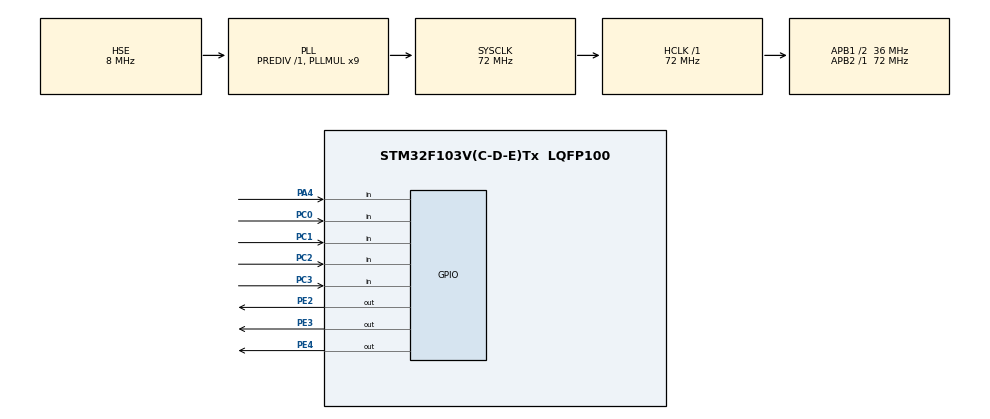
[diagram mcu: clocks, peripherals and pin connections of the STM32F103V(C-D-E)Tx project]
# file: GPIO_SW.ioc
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Mcu.Family=STM32F1
Mcu.Name=STM32F103V(C-D-E)Tx
Mcu.Package=LQFP100
NVIC.PriorityGroup=NVIC_PRIORITYGROUP_4
OSC_IN.Mode=HSE-External-Oscillator
OSC_IN.Signal=RCC_OSC_IN
OSC_OUT.Mode=HSE-External-Oscillator
OSC_OUT.Signal=RCC_OSC_OUT
PA4.GPIO_PuPd=GPIO_PULLUP
PA4.Signal=GPIO_Input
PC0.GPIO_PuPd=GPIO_PULLUP
PC0.Signal=GPIO_Input
PC1.GPIO_PuPd=GPIO_PULLUP
PC1.Signal=GPIO_Input
PC2.GPIO_PuPd=GPIO_PULLUP
PC2.Signal=GPIO_Input
PC3.GPIO_PuPd=GPIO_PULLUP
PC3.Signal=GPIO_Input
PE2.GPIO_PuPd=GPIO_PULLUP
PE2.Signal=GPIO_Output
PE3.GPIO_PuPd=GPIO_PULLUP
PE3.Signal=GPIO_Output
PE4.GPIO_PuPd=GPIO_PULLUP
PE4.Signal=GPIO_Output
ProjectManager.HeapSize=0x200
ProjectManager.StackSize=0x400
ProjectManager.TargetToolchain=STM32CubeIDE
RCC.AHBFreq_Value=72000000
RCC.APB1CLKDivider=RCC_HCLK_DIV2
RCC.APB1Freq_Value=36000000
RCC.APB1TimFreq_Value=72000000
RCC.APB2Freq_Value=72000000
RCC.APB2TimFreq_Value=72000000
RCC.HCLKFreq_Value=72000000
RCC.PLLMUL=RCC_PLL_MUL9
RCC.PLLSourceVirtual=RCC_PLLSOURCE_HSE
RCC.SYSCLKFreq_VALUE=72000000
RCC.SYSCLKSource=RCC_SYSCLKSOURCE_PLLCLK
RCC.USBFreq_Value=72000000
VP_SYS_VS_ND.Mode=No_Debug
board=custom

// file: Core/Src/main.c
/* USER CODE BEGIN Header */
/**
  ******************************************************************************
  * @file           : main.c
  * @brief          : Main program body
  ******************************************************************************
  * @attention
  *
  * <h2><center>&copy; Copyright (c) 2021 STMicroelectronics.
  * All rights reserved.</center></h2>
  *
  * This software component is licensed by ST under BSD 3-Clause license,
  * the "License"; You may not use this file except in compliance with the
  * License. You may obtain a copy of the License at:
  *                        opensource.org/licenses/BSD-3-Clause
  *
  ******************************************************************************
  */
/* USER CODE END Header */
#include "main.h"
#include "gpio.h"

void SystemClock_Config(void);

int main(void)
{
  /* USER CODE BEGIN 1 */
	int mode = 0;
  /* USER CODE END 1 */

  /* MCU Configuration--------------------------------------------------------*/

  /* Reset of all peripherals, Initializes the Flash interface and the Systick. */
  HAL_Init();

  /* Configure the system clock */
  SystemClock_Config();

  /* Initialize all configured peripherals */
  MX_GPIO_Init();

  /* Infinite loop */
  /* USER CODE BEGIN WHILE */
  while (1)
  {
	  if(!(HAL_GPIO_ReadPin(GPIOC, GPIO_PIN_0))) mode = 1;
	  else if(!(HAL_GPIO_ReadPin(GPIOC, GPIO_PIN_1))) mode = 2;
	  else if(!(HAL_GPIO_ReadPin(GPIOC, GPIO_PIN_2))) mode = 3;
	  else if(!(HAL_GPIO_ReadPin(GPIOC, GPIO_PIN_3))) mode = 4;
	  else if(!(HAL_GPIO_ReadPin(GPIOC, GPIO_PIN_4))) mode = 5;

	  if(mode == 1) {
		  HAL_GPIO_WritePin(GPIOE, GPIO_PIN_2 | GPIO_PIN_3 | GPIO_PIN_4, GPIO_PIN_RESET);
		  HAL_GPIO_WritePin(GPIOE, GPIO_PIN_2, GPIO_PIN_SET);
	  }
	  else if(mode == 2) {
		  HAL_GPIO_WritePin(GPIOE, GPIO_PIN_2 | GPIO_PIN_3 | GPIO_PIN_4, GPIO_PIN_RESET);
		  HAL_GPIO_WritePin(GPIOE, GPIO_PIN_3, GPIO_PIN_SET);
	  }
	  else if(mode == 3) {
		  HAL_GPIO_WritePin(GPIOE, GPIO_PIN_2 | GPIO_PIN_3 | GPIO_PIN_4, GPIO_PIN_RESET);
		  HAL_GPIO_WritePin(GPIOE, GPIO_PIN_4, GPIO_PIN_SET);
	  }
	  else if(mode == 4) HAL_GPIO_WritePin(GPIOE, GPIO_PIN_2 | GPIO_PIN_3 | GPIO_PIN_4, GPIO_PIN_SET);
	  else if(mode == 5) {
		  HAL_GPIO_WritePin(GPIOE, GPIO_PIN_2 | GPIO_PIN_3 | GPIO_PIN_4, GPIO_PIN_SET);
		  HAL_Delay(500);
		  HAL_GPIO_WritePin(GPIOE, GPIO_PIN_2 | GPIO_PIN_3 | GPIO_PIN_4, GPIO_PIN_RESET);
		  HAL_Delay(500);
	  }
    /* USER CODE END WHILE */

  }
}

void SystemClock_Config(void)
{
  RCC_OscInitTypeDef RCC_OscInitStruct = {0};
  RCC_ClkInitTypeDef RCC_ClkInitStruct = {0};

  /** Initializes the RCC Oscillators according to the specified parameters
  * in the RCC_OscInitTypeDef structure.
  */
  RCC_OscInitStruct.OscillatorType = RCC_OSCILLATORTYPE_HSE;
  RCC_OscInitStruct.HSEState = RCC_HSE_ON;
  RCC_OscInitStruct.HSEPredivValue = RCC_HSE_PREDIV_DIV1;
  RCC_OscInitStruct.HSIState = RCC_HSI_ON;
  RCC_OscInitStruct.PLL.PLLState = RCC_PLL_ON;
  RCC_OscInitStruct.PLL.PLLSource = RCC_PLLSOURCE_HSE;
  RCC_OscInitStruct.PLL.PLLMUL = RCC_PLL_MUL9;
  if (HAL_RCC_OscConfig(&RCC_OscInitStruct) != HAL_OK)
  {
    Error_Handler();
  }
  /** Initializes the CPU, AHB and APB buses clocks
  */
  RCC_ClkInitStruct.ClockType = RCC_CLOCKTYPE_HCLK|RCC_CLOCKTYPE_SYSCLK
                              |RCC_CLOCKTYPE_PCLK1|RCC_CLOCKTYPE_PCLK2;
  RCC_ClkInitStruct.SYSCLKSource = RCC_SYSCLKSOURCE_PLLCLK;
  RCC_ClkInitStruct.AHBCLKDivider = RCC_SYSCLK_DIV1;
  RCC_ClkInitStruct.APB1CLKDivider = RCC_HCLK_DIV2;
  RCC_ClkInitStruct.APB2CLKDivider = RCC_HCLK_DIV1;

  if (HAL_RCC_ClockConfig(&RCC_ClkInitStruct, FLASH_LATENCY_2) != HAL_OK)
  {
    Error_Handler();
  }
}

void Error_Handler(void)
{
  __disable_irq();
  while (1)
  {
  }
}

/************************ (C) COPYRIGHT STMicroelectronics *****END OF FILE****/
